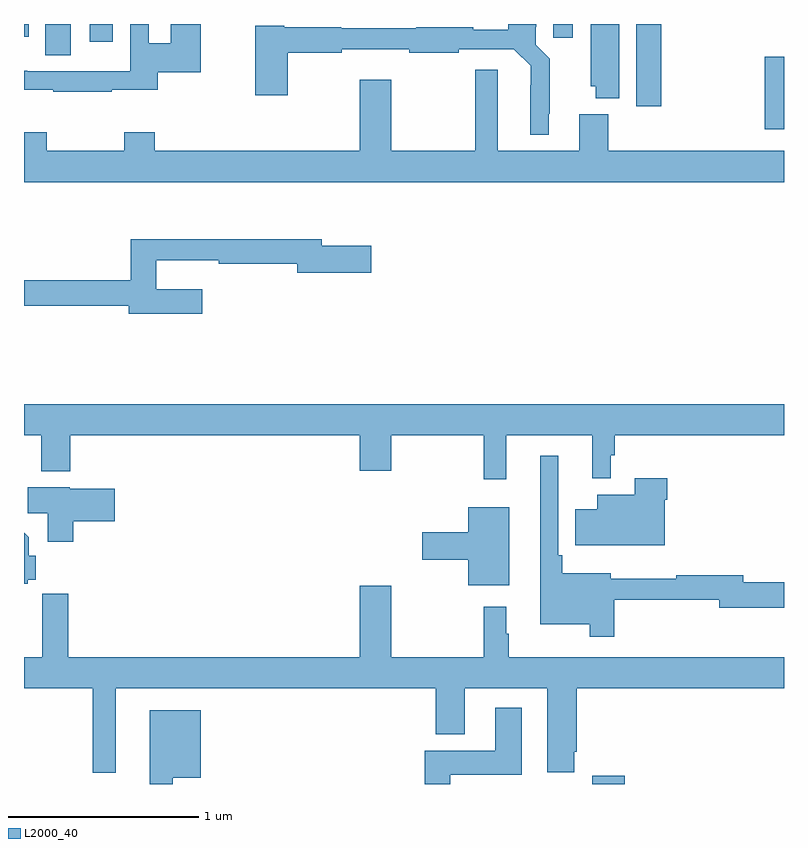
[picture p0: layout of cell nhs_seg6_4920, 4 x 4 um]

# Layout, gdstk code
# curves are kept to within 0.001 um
import gdstk
lib = gdstk.Library(unit=1e-6, precision=1e-09)
def R(c, l, rs):  # rectangles x0, y0, x1, y1
    for r in rs: c.add(gdstk.rectangle(r[:2], r[2:], *l))
def P(c, l, *ps):  # polygons
    for p in ps: c.add(gdstk.Polygon(p, *l))
L2000_40 = (2000, 40)

nhs_seg6_4920 = lib.new_cell('nhs_seg6_4920')
R(nhs_seg6_4920, L2000_40, [(405.992,945.5,406.163,945.544), (406.898,948.947,407,949.327), (406.223,949.068,406.355,949.5), (403.112,949.336,403.246,949.5), (403.346,949.407,403.468,949.5), (405.785,949.428,405.889,949.5), (403,949.434,403.024,949.5)])
P(nhs_seg6_4920, L2000_40, [(406.132,949.5),(405.983,949.5),(405.983,949.173),(406.01,949.173),(406.01,949.109),(406.132,949.109)],
  [(403.463,949.153),(403.703,949.153),(403.703,949.247),(403.93,949.247),(403.93,949.5),(403.772,949.5),(403.772,949.4),(403.656,949.4),(403.656,949.5),(403.56,949.5),(403.56,949.252),(403.35,949.252),(403.35,949.251),(403.016,949.251),(403.016,949.253),(403,949.253),(403,949.153),(403.153,949.153),(403.153,949.143),(403.463,949.143)],
  [(405.763,949.027),(405.767,949.027),(405.767,949.318),(405.693,949.392),(405.693,949.486),(405.697,949.486),(405.697,949.5),(405.548,949.5),(405.548,949.469),(405.364,949.469),(405.364,949.484),(405.064,949.484),(405.064,949.477),(404.67,949.477),(404.67,949.484),(404.37,949.484),(404.37,949.492),(404.216,949.492),(404.216,949.125),(404.387,949.125),(404.387,949.348),(404.672,949.348),(404.672,949.367),(405.028,949.367),(405.028,949.348),(405.287,949.348),(405.287,949.368),(405.578,949.368),(405.666,949.28),(405.665,948.917),(405.763,948.917)],
  [(407,948.832),(406.076,948.832),(406.076,949.024),(405.923,949.024),(405.923,948.832),(405.493,948.832),(405.493,949.258),(405.376,949.258),(405.376,948.832),(404.932,948.832),(404.932,949.207),(404.768,949.207),(404.768,948.832),(403.688,948.832),(403.688,948.931),(403.528,948.931),(403.528,948.832),(403.119,948.832),(403.119,948.931),(403,948.931),(403,948.668),(407,948.668)],
  [(403.939,948.103),(403.697,948.103),(403.697,948.257),(404.026,948.257),(404.026,948.238),(404.438,948.238),(404.438,948.191),(404.827,948.191),(404.827,948.333),(404.566,948.333),(404.566,948.367),(403.561,948.367),(403.561,948.152),(403,948.152),(403,948.016),(403.55,948.016),(403.55,947.974),(403.939,947.974)],
  [(405.539,947.336),(405.992,947.336),(405.992,947.108),(406.089,947.108),(406.089,947.229),(406.109,947.229),(406.109,947.336),(407,947.336),(407,947.5),(403,947.5),(403,947.336),(403.091,947.336),(403.091,947.147),(403.244,947.147),(403.244,947.336),(404.768,947.336),(404.768,947.148),(404.932,947.148),(404.932,947.336),(405.421,947.336),(405.421,947.103),(405.539,947.103)],
  [(406.106,946.47),(406.658,946.47),(406.658,946.427),(407,946.427),(407,946.562),(406.786,946.562),(406.786,946.598),(406.433,946.598),(406.433,946.579),(406.087,946.579),(406.087,946.609),(405.833,946.609),(405.833,946.705),(405.813,946.705),(405.813,947.227),(405.716,947.227),(405.716,946.34),(405.978,946.34),(405.978,946.275),(406.106,946.275)],
  [(406.372,946.997),(406.385,946.997),(406.385,947.11),(406.214,947.11),(406.214,947.023),(406.016,947.023),(406.016,946.945),(405.902,946.945),(405.902,946.757),(406.372,946.757)],
  [(403.259,946.883),(403.477,946.883),(403.477,947.053),(403.242,947.053),(403.242,947.062),(403.019,947.062),(403.019,946.924),(403.124,946.924),(403.124,946.776),(403.259,946.776)],
  [(405.553,946.957),(405.338,946.957),(405.338,946.826),(405.096,946.826),(405.096,946.679),(405.338,946.679),(405.338,946.547),(405.553,946.547)],
  [(403.02,946.574),(403.063,946.574),(403.063,946.702),(403.024,946.702),(403.024,946.798),(403,946.822),(403,946.555),(403.02,946.555)],
  [(403.232,946.501),(403.097,946.501),(403.097,946.388),(403.096,946.388),(403.096,946.168),(403,946.168),(403,946.004),(403.362,946.004),(403.362,945.667),(403.363,945.667),(403.363,945.56),(403.483,945.56),(403.483,946.004),(405.167,946.004),(405.167,945.761),(405.319,945.761),(405.319,946.004),(405.755,946.004),(405.755,945.563),(405.895,945.563),(405.895,945.67),(405.908,945.67),(405.908,946.004),(407,946.004),(407,946.168),(405.55,946.168),(405.55,946.292),(405.538,946.292),(405.538,946.432),(405.421,946.432),(405.421,946.168),(404.932,946.168),(404.932,946.543),(404.768,946.543),(404.768,946.168),(403.232,946.168)],
  [(405.244,945.548),(405.619,945.548),(405.619,945.901),(405.479,945.901),(405.479,945.676),(405.11,945.676),(405.11,945.5),(405.244,945.5)],
  [(403.783,945.533),(403.93,945.533),(403.93,945.889),(403.661,945.889),(403.661,945.5),(403.783,945.5)])

lib.write_gds('nhs_seg6_4920.gds')
